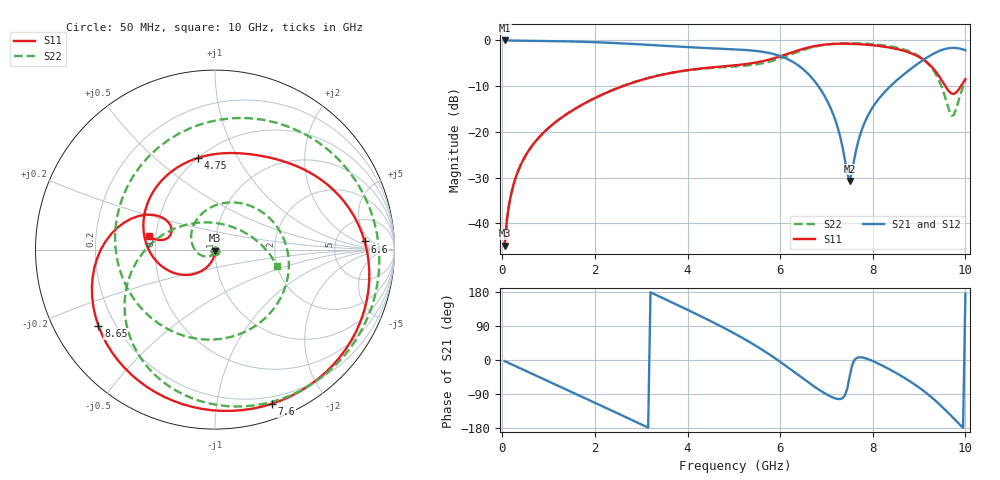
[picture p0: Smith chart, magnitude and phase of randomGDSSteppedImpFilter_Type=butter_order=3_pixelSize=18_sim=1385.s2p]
! freq	dB(S11)	phase(S11)	dB(S12)	phase(S12)
!  dB(S21)	phase(S21)	dB(S22)	phase(S22)
!S-par simulation data
#  GHz  S  DB  R 50
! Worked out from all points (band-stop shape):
!   200 points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, 50 MHz to 10 GHz, reference 50 ohm
!   highest |S21| = -0.01 dB at 50 MHz (marker M1); lowest = -30.7 dB at 7.5 GHz (marker M2)
!   |S21| within 3 dB of the highest: start of sweep to 5.87 GHz; 9.293 GHz to end of sweep
!   lowest |S11| = -44.9 dB at 50 MHz (marker M3), VSWR 1.01, Z = 50 - j0.57 ohm
!   |S11| at or under -10 dB: start of sweep to 2.602 GHz; 9.568 GHz to 9.904 GHz (335.7 MHz wide, 3.45 % of centre)
!   |S22| runs from -45.0 to -0.6 dB; largest |S21 - S12| = 0
!   S11 on the Smith chart (normalised r, x): 50 MHz: 1.00, -0.01; 4.75 GHz: 0.50, +0.70; 6.6 GHz: 10, +3; 7.6 GHz: 0.13, -1.43; 8.65 GHz: 0.14, -0.29; 10 GHz: 0.46, +0.08
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0.05  -44.89 -88.9  -0.01 -2.9  -0.01 -2.9  -44.97 -91.8
0.2  -33.17 -94.1  -0.02 -11.3  -0.02 -11.3  -33.23 -107.0
0.5  -25.21 -102.5  -0.05 -28.1  -0.05 -28.1  -25.27 -134.4
1.15  -17.85 -119.3  -0.15 -64.6  -0.15 -64.6  -17.85 168.3
1.75  -13.92 -135.8  -0.30 -98.5  -0.30 -98.5  -13.88 116.9
2.65  -9.82 -166.0  -0.68 -149.9  -0.68 -149.9  -9.78 44.9
3.4  -7.60 163.2  -1.11 167.2  -1.11 167.2  -7.59 -9.7
4.75  -5.69 100.6  -1.81 87.0  -1.81 87.0  -5.87 -106.4
5.05  -5.41 86.6  -1.96 67.5  -1.96 67.5  -5.68 -131.5
5.85  -3.94 49.1  -2.95 7.9  -2.95 7.9  -4.41 144.1
6.25  -2.63 26.7  -4.54 -26.9  -4.54 -26.9  -3.00 94.4
6.6  -1.57 3.1  -7.27 -58.3  -7.27 -58.3  -1.78 52.4
6.7  -1.33 -4.1  -8.37 -67.0  -8.37 -67.0  -1.50 41.2
7.15  -0.76 -37.3  -16.26 -99.6  -16.26 -99.6  -0.75 -3.5
7.5  -0.73 -62.6  -30.70 -43.9  -30.70 -43.9  -0.61 -32.0
7.6  -0.76 -69.8  -25.95 -0.8  -25.95 -0.8  -0.62 -39.3
7.85  -0.92 -87.6  -17.37 4.3  -17.37 4.3  -0.71 -56.6
8.35  -1.53 -123.7  -10.29 -23.9  -10.29 -23.9  -1.24 -88.7
8.65  -2.20 -146.7  -7.59 -44.7  -7.59 -44.7  -1.90 -108.5
9.4  -7.36 153.0  -2.46 -112.4  -2.46 -112.4  -8.11 -179.1
9.7  -11.61 156.6  -1.64 -148.1  -1.64 -148.1  -16.46 90.7
10  -8.46 168.4  -2.15 175.0  -2.15 175.0  -8.90 -14.9
